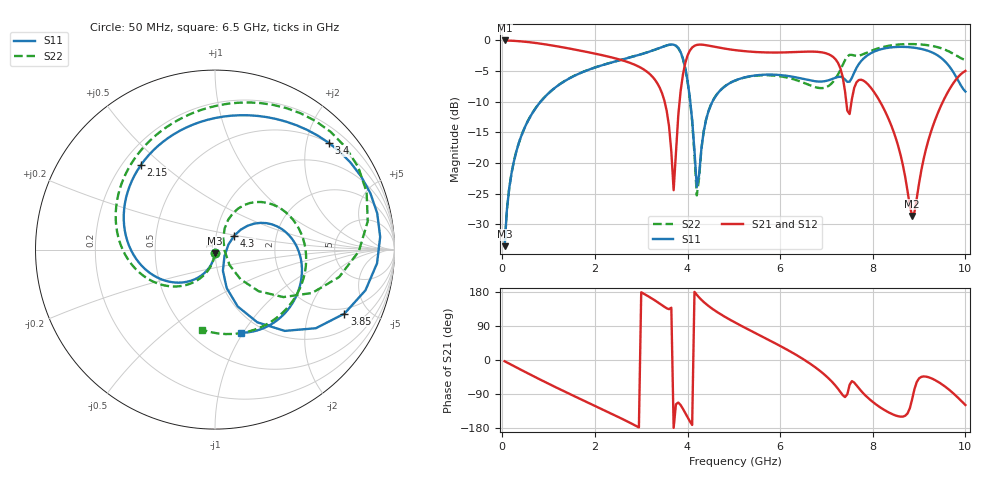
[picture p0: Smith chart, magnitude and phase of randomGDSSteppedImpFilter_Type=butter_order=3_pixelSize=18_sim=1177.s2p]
! freq	dB(S11)	phase(S11)	dB(S12)	phase(S12)
!  dB(S21)	phase(S21)	dB(S22)	phase(S22)
!S-par simulation data
#  GHz  S  DB  R 50
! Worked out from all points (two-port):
!   200 points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, 50 MHz to 10 GHz, reference 50 ohm
!   highest |S21| = -0.01 dB at 50 MHz (marker M1); lowest = -28.6 dB at 8.85 GHz (marker M2)
!   |S21| within 3 dB of the highest: start of sweep to 2.481 GHz; 3.979 GHz to 7.186 GHz (3.208 GHz wide, 57.5 % of centre)
!   lowest |S11| = -33.6 dB at 50 MHz (marker M3), VSWR 1.04, Z = 49.8 - j2.09 ohm
!   |S11| at or under -10 dB: start of sweep to 827 MHz; 4.059 GHz to 4.538 GHz (479.1 MHz wide, 11.1 % of centre)
!   |S22| runs from -33.6 to -0.6 dB; largest |S21 - S12| = 0
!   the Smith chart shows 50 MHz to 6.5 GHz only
!   S11 on the Smith chart (normalised r, x): 50 MHz: 1.00, -0.04; 2.15 GHz: 0.27, +0.42; 3.4 GHz: 0.50, +2.44; 3.85 GHz: 1.72, -3.48; 4.3 GHz: 1.22, +0.19; 6.5 GHz: 0.80, -0.98
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0.05  -33.57 -93.3  -0.01 -3.3  -0.01 -3.3  -33.57 -92.9
0.2  -21.64 -103.9  -0.05 -12.9  -0.05 -12.9  -21.64 -102.4
0.5  -13.96 -124.3  -0.22 -31.9  -0.22 -31.9  -13.95 -120.5
1.75  -5.12 155.9  -1.77 -106.6  -1.77 -106.6  -5.11 169.5
2.15  -4.06 131.2  -2.40 -129.6  -2.40 -129.6  -4.05 148.1
3.4  -1.22 43.2  -7.72 148.8  -7.72 148.8  -1.22 68.1
3.7  -0.70 4.4  -24.44 -179.1  -24.44 -179.1  -0.71 30.0
3.85  -1.89 -26.3  -8.32 -118.8  -8.32 -118.8  -1.92 -0.7
4.05  -9.34 -68.2  -1.65 -161.7  -1.65 -161.7  -9.48 -43.6
4.2  -23.90 -33.9  -0.74 172.0  -0.74 172.0  -25.29 -7.4
4.3  -17.62 35.9  -0.69 158.8  -0.69 158.8  -17.67 65.7
5.05  -6.47 -3.9  -1.61 97.4  -1.61 97.4  -6.48 17.4
6.5  -6.29 -72.9  -1.85 2.1  -1.85 2.1  -6.89 -99.2
6.7  -6.60 -80.0  -1.83 -14.1  -1.83 -14.1  -7.48 -125.5
7.25  -5.96 -123.2  -3.67 -76.1  -3.67 -76.1  -5.55 133.0
7.4  -6.37 176.6  -8.27 -97.9  -8.27 -97.9  -3.23 100.3
7.5  -6.74 97.9  -12.02 -65.4  -12.02 -65.4  -2.35 75.0
7.7  -3.85 -8.1  -6.45 -74.7  -6.45 -74.7  -2.48 41.8
8.35  -1.18 -91.0  -12.96 -138.7  -12.96 -138.7  -0.87 -19.6
8.85  -1.15 -128.5  -28.63 -103.5  -28.63 -103.5  -0.60 -53.0
9.45  -2.70 176.3  -11.05 -60.6  -11.05 -60.6  -1.21 -85.5
10  -8.34 60.3  -4.98 -118.8  -4.98 -118.8  -3.22 -102.8
